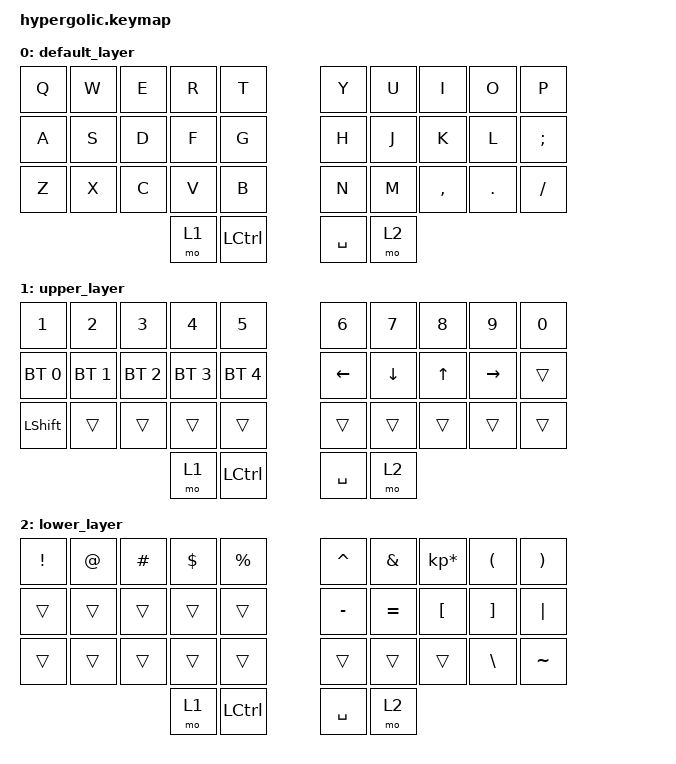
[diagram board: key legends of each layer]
/*
 * Copyright (c) 2021 The ZMK Contributors
 *
 * SPDX-License-Identifier: MIT
 */

#include <behaviors.dtsi>
#include <dt-bindings/zmk/keys.h>
#include <dt-bindings/zmk/bt.h>

/ {
    keymap {
        compatible = "zmk,keymap";

        default_layer {
            bindings = <
            &kp Q &kp W &kp E &kp R &kp T      &kp Y     &kp U &kp I     &kp O   &kp P
            &kp A &kp S &kp D &kp F &kp G      &kp H     &kp J &kp K     &kp L   &kp SEMI
            &kp Z &kp X &kp C &kp V &kp B      &kp N     &kp M &kp COMMA &kp DOT &kp FSLH
                              &mo 1 &kp LCTRL  &kp SPACE &mo 2
            >;
        };

        upper_layer {
            bindings = <
            &kp N1       &kp N2       &kp N3       &kp N4        &kp N5       &kp N6   &kp N7   &kp N8 &kp N9    &kp N0
            &bt BT_SEL 0 &bt BT_SEL 1 &bt BT_SEL 2 &bt BT_SEL 3  &bt BT_SEL 4 &kp LEFT &kp DOWN &kp UP &kp RIGHT &trans
            &kp LSHFT    &trans       &trans       &trans        &trans       &trans   &trans   &trans &trans    &trans
                                      &mo 1        &kp LCTRL     &kp SPACE  &mo 2
            >;
        };

        lower_layer {
            bindings = <
            &kp EXCL  &kp AT  &kp HASH  &kp DOLLAR &kp PRCNT  &kp CARET &kp AMPS  &kp KP_MULTIPLY &kp LPAR &kp RPAR
            &trans    &trans  &trans    &trans     &trans     &kp MINUS &kp EQUAL &kp LBKT        &kp RBKT &kp PIPE
            &trans    &trans  &trans    &trans     &trans     &trans    &trans    &trans          &kp BSLH &kp TILDE
                                        &mo 1      &kp LCTRL  &kp SPACE &mo 2
            >;
        };
    };
};
